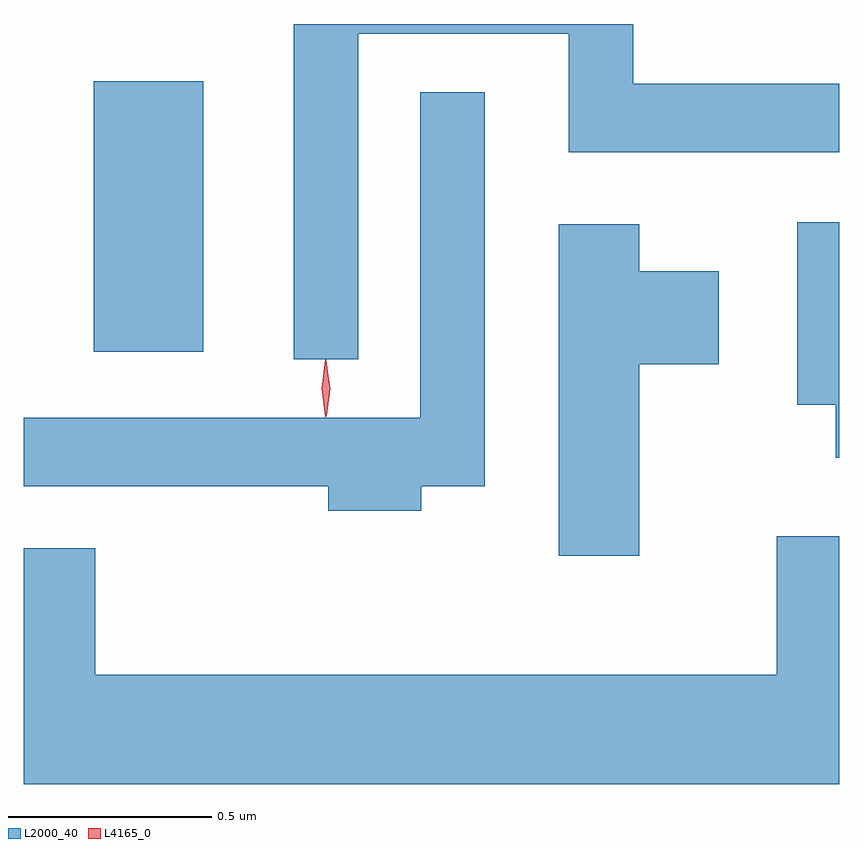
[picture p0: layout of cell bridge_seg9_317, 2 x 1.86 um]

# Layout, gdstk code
import gdstk
lib = gdstk.Library(unit=1e-6, precision=1e-09)
def R(c, l, rs):  # rectangles x0, y0, x1, y1
    for r in rs: c.add(gdstk.rectangle(r[:2], r[2:], *l))
def P(c, l, *ps):  # polygons
    for p in ps: c.add(gdstk.Polygon(p, *l))
L2000_40 = (2000, 40)
L4165_0 = (4165, 0)

bridge_seg9_317 = lib.new_cell('bridge_seg9_317')
R(bridge_seg9_317, L2000_40, [(987.086,2077.236,987.354,2077.899)])
P(bridge_seg9_317, L2000_40, [(987.734,2078.016),(988.251,2078.016),(988.251,2077.726),(988.914,2077.726),(988.914,2077.894),(988.409,2077.894),(988.409,2078.04),(987.576,2078.04),(987.576,2077.218),(987.734,2077.218)],
  [(987.889,2076.906),(988.044,2076.906),(988.044,2077.873),(987.886,2077.873),(987.886,2077.074),(986.914,2077.074),(986.914,2076.906),(987.661,2076.906),(987.661,2076.846),(987.889,2076.846)],
  [(988.914,2077.554),(988.811,2077.554),(988.811,2077.106),(988.906,2077.106),(988.906,2076.976),(988.914,2076.976)],
  [(988.424,2077.206),(988.619,2077.206),(988.619,2077.434),(988.424,2077.434),(988.424,2077.549),(988.226,2077.549),(988.226,2076.736),(988.424,2076.736)],
  [(988.914,2076.784),(988.761,2076.784),(988.761,2076.444),(987.089,2076.444),(987.089,2076.754),(986.914,2076.754),(986.914,2076.176),(988.914,2076.176)])
P(bridge_seg9_317, L4165_0, [(987.654,2077.077),(987.645,2077.146),(987.654,2077.216),(987.655,2077.216),(987.656,2077.216),(987.665,2077.146),(987.656,2077.077),(987.655,2077.077)],
  [(987.656,2077.079),(987.656,2077.08),(987.646,2077.146),(987.656,2077.212),(987.656,2077.213),(987.656,2077.212),(987.666,2077.146),(987.657,2077.08)])

lib.write_gds('bridge_seg9_317.gds')
